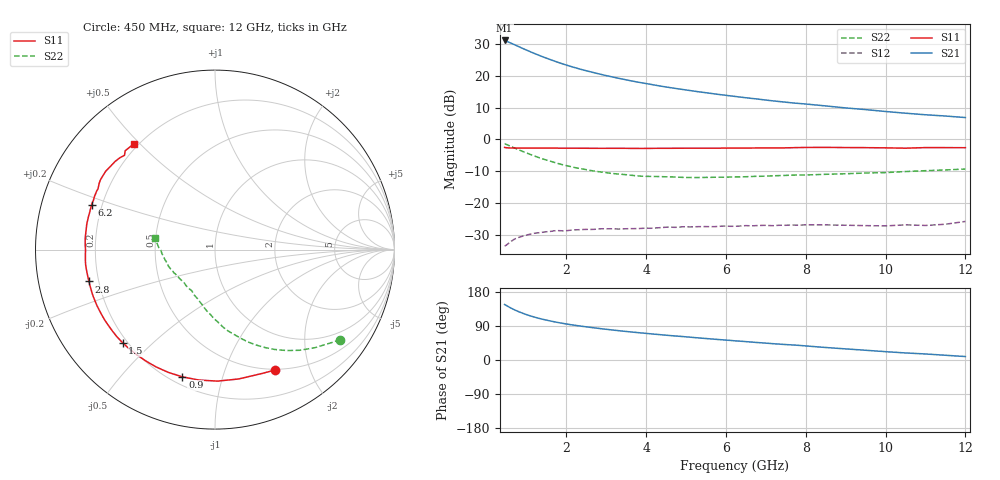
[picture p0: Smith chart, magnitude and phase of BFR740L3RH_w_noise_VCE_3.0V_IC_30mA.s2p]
! (c) 2012  Infineon Technologies AG, Munich
! Infineon Technologies  Discrete & RF Semiconductors
! BFR740L3RH
! VCE =  3.0 V,  IC =  30 mA
! Common Emitter S-Parameters:  May 2012
# GHz  S  MA  R  50
!  f  S11  S21  S12  S22
! GHz  MAG  ANG  MAG  ANG  MAG  ANG  MAG  ANG
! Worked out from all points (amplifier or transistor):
!   85 points, 450 MHz to 12 GHz, reference 50 ohm
!   highest |S21| = 31.1 dB at 450 MHz (marker M1)
!   |S21| within 3 dB of that: start of sweep to 993.8 MHz
!   unconditionally stable (mu >= 1): 5.82 GHz to end of sweep
!   at 1.8 GHz: K = 0.32, MSG = 26.4 dB, |S12| = -28.6 dB
!   at 4.6 GHz: K = 0.80, MSG = 21.9 dB, |S12| = -27.5 dB
!   at 12 GHz: K = 1.87, MAG = 10.9 dB, |S12| = -25.7 dB
!   lowest NFmin = 1.19 dB at 450 MHz
!   S11 on the Smith chart (normalised r, x): 450 MHz: 0.49, -1.50; 900 MHz: 0.24, -0.75; 1.5 GHz: 0.18, -0.41; 2.8 GHz: 0.16, -0.12; 6.2 GHz: 0.16, +0.17; 12 GHz: 0.18, +0.48
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0.45  0.7493 -63.5  35.72 146.4  0.0211 64.2  0.8593 -35.7
0.6  0.7327 -79.5  32.6 137.5  0.0248 53.0  0.7798 -44.5
0.7  0.733 -88.9  30.59 132.3  0.0273 48.2  0.7333 -49.9
0.8  0.7322 -97.1  28.64 127.6  0.0289 44.7  0.689 -54.7
0.9  0.732 -104.4  26.84 123.5  0.0303 41.7  0.6485 -59.1
1  0.7319 -110.9  25.19 119.7  0.0315 39.4  0.6123 -63.0
1.2  0.7306 -121.9  22.3 113.1  0.0337 34.6  0.5483 -70.1
1.3  0.7304 -126.7  21.02 110.2  0.0342 33.1  0.5202 -73.2
1.5  0.7309 -134.7  18.82 105.2  0.0355 29.0  0.4738 -78.8
1.7  0.7298 -141.6  16.94 100.7  0.0368 29.0  0.4352 -83.9
1.9  0.7291 -147.5  15.36 96.8  0.0367 27.5  0.4007 -88.2
2.1  0.7278 -152.5  14.03 93.3  0.0375 24.9  0.3749 -92.2
2.4  0.7269 -158.8  12.39 88.8  0.0385 23.5  0.344 -97.7
2.8  0.7244 -165.8  10.72 83.5  0.0393 21.9  0.3115 -104.0
3.6  0.7234 -176.8  8.352 74.2  0.0397 22.4  0.2746 -115.6
4.3  0.7248 176.1  6.968 67.3  0.041 21.7  0.261 -123.7
5.3  0.7282 166.9  5.606 58.4  0.0427 21.5  0.2518 -135.7
6.2  0.7312 160.2  4.745 50.8  0.0433 21.6  0.2577 -145.3
6.3  0.7315 159.5  4.663 50.0  0.0435 21.6  0.2578 -146.5
8.5  0.7493 144.4  3.351 33.0  0.0455 20.9  0.2833 -168.0
10.5  0.728 133.8  2.576 18.6  0.0456 26.7  0.313 178.1
12  0.7416 127.6  2.204 9.1  0.0516 33.3  0.3427 169.2
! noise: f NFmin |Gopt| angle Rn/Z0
0.45  1.19  0.09  178  0.12
0.9  1.19  0.1  173  0.11
1.5  1.21  0.11  167  0.11
1.9  1.22  0.12  164  0.11
2.4  1.24  0.14  164  0.11
3.5  1.3  0.16  166  0.11
5.5  1.44  0.22  170  0.1
8  1.66  0.29  -172  0.11
10  1.85  0.31  -156  0.13
12  2.05  0.37  -136  0.19
